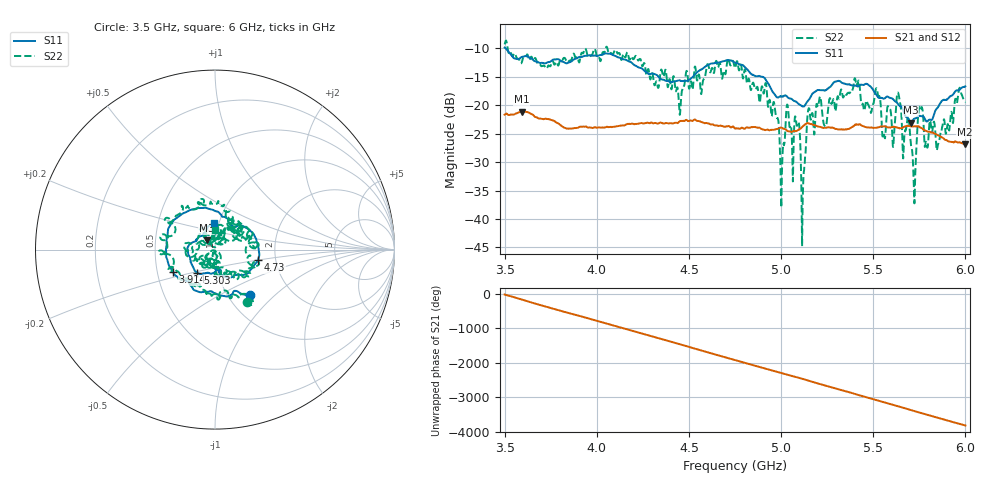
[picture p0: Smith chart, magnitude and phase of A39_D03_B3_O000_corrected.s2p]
! Created with skrf 1.9.0 (http://scikit-rf.org).
# Hz S RI R 50.0
!freq ReS11 ImS11 ReS21 ImS21 ReS12 ImS12 ReS22 ImS22
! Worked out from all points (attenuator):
!   1601 points, 3.5 GHz to 6 GHz, reference 50 ohm
!   highest |S21| = -21.14 dB at 3.592 GHz (marker M1); lowest = -26.9 dB at 5.997 GHz (marker M2)
!   lowest |S11| = -23.1 dB at 5.703 GHz (marker M3), VSWR 1.15, Z = 45.3 + j4.73 ohm
!   |S11| at or under -10 dB: 3.505 GHz to end of sweep
!   |S22| runs from -44.8 to -8.6 dB; largest |S21 - S12| = 0.00098
!   S11 on the Smith chart (normalised r, x): 3.5 GHz: 1.26, -0.71; 3.914 GHz: 0.61, -0.16; 4.73 GHz: 1.61, -0.20; 5.303 GHz: 0.80, -0.21; 6 GHz: 0.94, +0.28
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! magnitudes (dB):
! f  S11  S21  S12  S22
! 3.5 GHz  -9.9  -21.7  -21.7  -9.3
! 3.592 GHz  -11.5  -21.1  -21.2  -12.5
! 3.914 GHz  -11.5  -23.8  -23.8  -11.1
! 3.917 GHz  -11.5  -23.8  -23.8  -10.8
! 4.334 GHz  -15.0  -23.2  -23.2  -17.0
! 4.73 GHz  -12.1  -23.9  -23.8  -12.8
! 4.75 GHz  -12.5  -24.1  -24.0  -13.5
! 4.967 GHz  -18.2  -24.3  -24.2  -20.8
! 5.005 GHz  -18.4  -24.0  -24.0  -31.6
! 5.033 GHz  -18.5  -24.5  -24.4  -19.9
! 5.088 GHz  -19.5  -24.5  -24.5  -23.5
! 5.119 GHz  -20.2  -23.7  -23.6  -34.9
! 5.145 GHz  -19.3  -23.2  -23.1  -21.2
! 5.167 GHz  -18.1  -23.4  -23.3  -21.5
! 5.303 GHz  -15.8  -24.2  -24.2  -19.0
! 5.584 GHz  -18.6  -23.9  -23.9  -20.3
! 5.703 GHz  -23.1  -23.7  -23.7  -26.5
! 5.722 GHz  -22.4  -23.7  -23.7  -36.1
! 5.756 GHz  -21.9  -23.9  -23.9  -20.7
! 5.852 GHz  -20.3  -25.3  -25.3  -26.9
! 5.997 GHz  -16.8  -26.9  -26.8  -19.4
! 6 GHz  -16.7  -26.9  -26.8  -19.4
